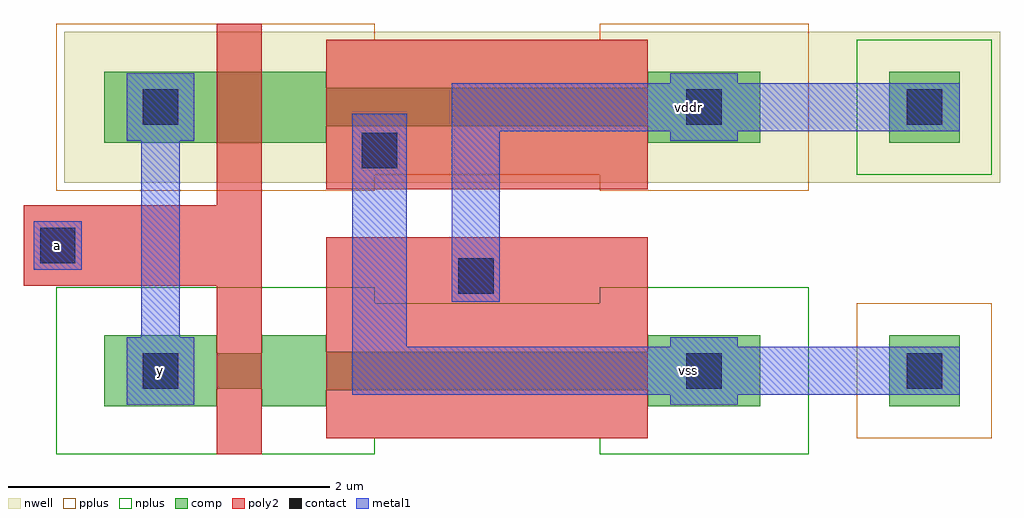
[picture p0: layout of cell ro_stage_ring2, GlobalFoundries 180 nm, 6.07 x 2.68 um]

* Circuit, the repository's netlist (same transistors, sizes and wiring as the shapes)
* extracted by klt extract --deck gf180mcu

* cell ro_stage_ring2
* pin a
* pin vddr
* pin vss
* pin y
.SUBCKT ro_stage_ring2 a vddr vss y
* device instance $1 r0 *1 0.84,0.22 nfet
X$1 \$5 a y vss nfet_03v3 L=0.28U W=0.22U AS=0.308P AD=0.088P PS=2.28U PD=0.84U
* device instance $2 r0 *1 2.38,0.22 nfet
X$2 vss vddr \$5 vss nfet_03v3 L=2U W=0.24U AS=0.088P AD=0.308P PS=0.84U
+ PD=2.28U
* device instance $3 r0 *1 2.38,1.86 pfet
X$3 vddr vss \$6 vddr pfet_03v3 L=2U W=0.24U AS=0.088P AD=0.308P PS=0.84U
+ PD=2.28U
* device instance $4 r0 *1 0.84,1.86 pfet
X$4 \$6 a y vddr pfet_03v3 L=0.28U W=0.44U AS=0.308P AD=0.088P PS=2.28U PD=0.84U
.ENDS ro_stage_ring2

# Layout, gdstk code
import gdstk
lib = gdstk.Library(unit=1e-6, precision=1e-09)
def R(c, l, rs):  # rectangles x0, y0, x1, y1
    for r in rs: c.add(gdstk.rectangle(r[:2], r[2:], *l))
nwell = (21, 0)
comp = (22, 0)
poly2 = (30, 0)
pplus = (31, 0)
nplus = (32, 0)
contact = (33, 0)
metal1 = (34, 0)

ro_stage_ring2 = lib.new_cell('ro_stage_ring2')
R(ro_stage_ring2, nwell, [(-0.25,1.39,4.33,2.33), (4.23,1.39,5.57,2.33)])
R(ro_stage_ring2, comp, [(0,0,0.7,0.44), (0.98,0,1.38,0.44), (3.38,0,4.08,0.44), (4.88,0,5.32,0.44), (1.38,0.1,3.38,0.34), (0.7,0.11,0.98,0.33), (0,1.64,0.7,2.08), (0.7,1.64,1.38,2.08), (3.38,1.64,4.08,2.08), (4.88,1.64,5.32,2.08), (1.38,1.74,3.38,1.98)])
R(ro_stage_ring2, poly2, [(0.7,-0.3,0.98,2.38), (1.38,-0.2,3.38,1.05), (-0.5,0.75,0.98,1.25), (1.38,1.35,3.38,2.28)])
R(ro_stage_ring2, pplus, [(4.68,-0.2,5.52,0.64), (-0.3,1.34,1,2.38), (0.4,1.34,1.68,2.38), (3.08,1.34,4.38,2.38), (1.08,1.44,3.68,2.28)])
R(ro_stage_ring2, nplus, [(-0.3,-0.3,1,0.74), (0.68,-0.3,1.68,0.74), (3.08,-0.3,4.38,0.74), (1.08,-0.2,3.68,0.64), (0.4,-0.19,1.28,0.63), (4.68,1.44,5.52,2.28)])
R(ro_stage_ring2, contact, [(0.24,0.11,0.46,0.33), (3.62,0.11,3.84,0.33), (4.99,0.11,5.21,0.33), (2.2,0.7,2.42,0.92), (-0.4,0.89,-0.18,1.11), (1.6,1.48,1.82,1.7), (0.24,1.75,0.46,1.97), (3.62,1.75,3.84,1.97), (4.99,1.75,5.21,1.97)])
R(ro_stage_ring2, metal1, [(0.14,0.01,0.56,0.43), (3.52,0.01,3.94,0.43), (1.54,0.07,3.9,0.37), (3.84,0.07,5.32,0.37), (1.54,0.2,1.88,1.82), (0.23,0.4,0.47,1.68), (2.16,0.65,2.46,1.85), (-0.44,0.85,-0.14,1.15), (0.14,1.65,0.56,2.07), (3.52,1.65,3.94,2.07), (2.16,1.71,3.9,2.01), (3.84,1.71,5.32,2.01)])
ro_stage_ring2.add(gdstk.Label('a', (-0.29,1), layer=34, texttype=10))
ro_stage_ring2.add(gdstk.Label('y', (0.35,0.22), layer=34, texttype=10))
ro_stage_ring2.add(gdstk.Label('vss', (3.63,0.22), layer=34, texttype=10))
ro_stage_ring2.add(gdstk.Label('vddr', (3.63,1.86), layer=34, texttype=10))

lib.write_gds('ro_stage_ring2.gds')
